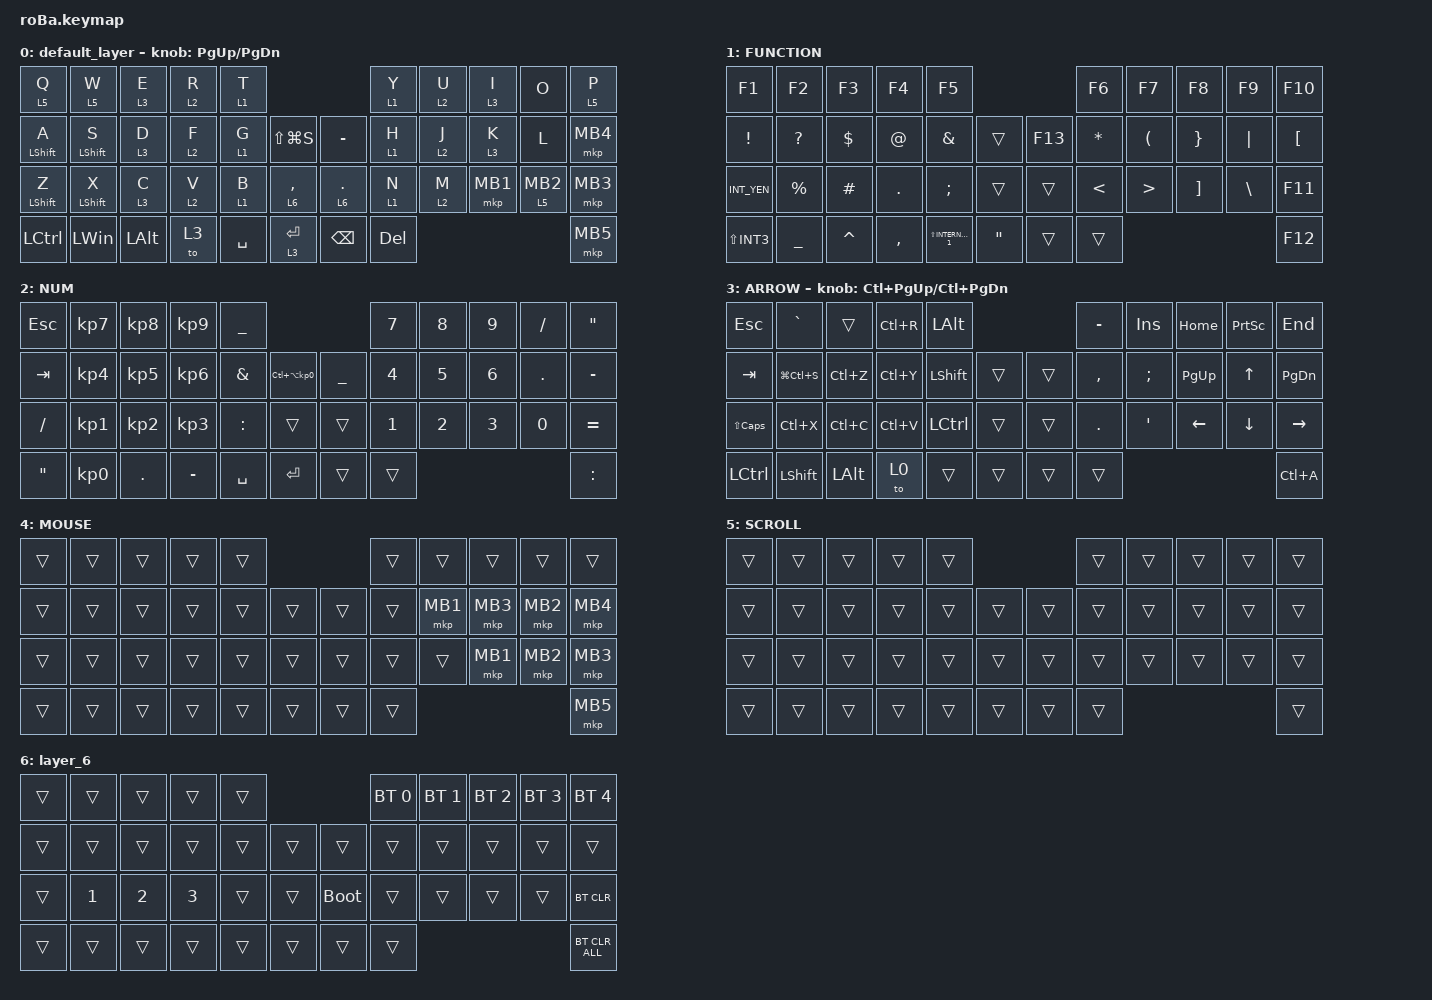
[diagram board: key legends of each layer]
#include <behaviors.dtsi>
#include <dt-bindings/zmk/bt.h>
#include <dt-bindings/zmk/keys.h>
#include <dt-bindings/zmk/pointing.h>

&mt {
    flavor = "balanced";
    quick-tap-ms = <0>;
};

&trackball {
    scroll-layers = <2 3 5>;

    //    automouse-layer = <4>;
    //    scroll-layers = <5>;
    // arrows {
    //     layers = <3>;
    //     bindings =
    //         <&kp RIGHT_ARROW>,
    //         <&kp LEFT_ARROW>,
    //         <&kp UP_ARROW>,
    //         <&kp DOWN_ARROW>;
    //     tick = <10>;
    //     wait-ms = <5>;
    //     tap-ms = <5>;
    // };
};

/ {
    combos {
        compatible = "zmk,combos";

        tab {
            bindings = <&kp TAB>;
            key-positions = <11 12>;
        };

        shift_tab {
            bindings = <&kp LS(TAB)>;
            key-positions = <12 13>;
        };
    };

    macros {
        to_layer_0: to_layer_0 {
            compatible = "zmk,behavior-macro-one-param";
            #binding-cells = <1>;
            bindings = <&to 0 &macro_param_1to1 &kp MACRO_PLACEHOLDER>;
            label = "TO_LAYER_0";
        };
    };

    behaviors {
        lt_to_layer_0: lt_to_layer_0 {
            compatible = "zmk,behavior-hold-tap";
            label = "LAYER_TAP_TO_0";
            bindings = <&mo>, <&to_layer_0>;

            #binding-cells = <2>;
            tapping-term-ms = <200>;
        };

        Layer_Mkp: Layer_Mkp {
            compatible = "zmk,behavior-hold-tap";
            label = "LAYER_MKP";
            bindings = <&mo>, <&mkp>;

            #binding-cells = <2>;
            tapping-term-ms = <200>;
        };
    };

    keymap {
        compatible = "zmk,keymap";

        default_layer {
            bindings = <
&lt 5 Q           &lt 5 W           &lt 3 E       &lt 2 R  &lt 1 T                                      &lt 1 Y     &lt 2 U  &lt 3 I   &kp O             &lt 5 P
&mt LEFT_SHIFT A  &mt LEFT_SHIFT S  &lt 3 D       &lt 2 F  &lt 1 G    &kp LS(LG(S))      &kp MINUS      &lt 1 H     &lt 2 J  &lt 3 K   &kp L             &mkp MB4
&mt LEFT_SHIFT Z  &mt LEFT_SHIFT X  &lt 3 C       &lt 2 V  &lt 1 B    &lt 6 COMMA        &lt 6 PERIOD   &lt 1 N     &lt 2 M  &mkp MB1  &Layer_Mkp 5 MB2  &mkp MB3
&kp LCTRL         &kp LEFT_WIN      &kp LEFT_ALT  &to 3    &kp SPACE  &lt 3 ENTER        &kp BACKSPACE  &kp DELETE                                       &mkp MB5
            >;

            sensor-bindings = <&inc_dec_kp PG_UP PAGE_DOWN>;
        };

        FUNCTION {
            bindings = <
&kp F1           &kp F2          &kp F3     &kp F4       &kp F5                                                   &kp F6         &kp F7                &kp F8             &kp F9         &kp F10
&kp EXCLAMATION  &kp QUESTION    &kp DLLR   &kp AT_SIGN  &kp AMPERSAND            &trans                 &kp F13  &kp ASTRK      &kp LEFT_PARENTHESIS  &kp RIGHT_BRACE    &kp PIPE       &kp LEFT_BRACKET
&kp INT_YEN      &kp PERCENT     &kp HASH   &kp PERIOD   &kp SEMICOLON            &trans                 &trans   &kp LESS_THAN  &kp GREATER_THAN      &kp RIGHT_BRACKET  &kp BACKSLASH  &kp F11
&kp LS(INT3)     &kp UNDERSCORE  &kp CARET  &kp COMMA    &kp LS(INTERNATIONAL_1)  &kp DOUBLE_QUOTES      &trans   &trans                                                                 &kp F12
            >;
        };

        NUM {
            bindings = <
&kp ESC            &kp KP_NUMBER_7  &kp KP_NUMBER_8  &kp KP_NUMBER_9  &kp UNDER                                                   &kp NUMBER_7  &kp NUMBER_8  &kp NUMBER_9  &kp SLASH     &kp DOUBLE_QUOTES
&kp TAB            &kp KP_NUMBER_4  &kp KP_NUMBER_5  &kp KP_NUMBER_6  &kp AMPERSAND  &kp LC(LA(KP_NUMBER_0))      &kp UNDERSCORE  &kp NUMBER_4  &kp NUMBER_5  &kp NUMBER_6  &kp PERIOD    &kp MINUS
&kp SLASH          &kp KP_NUMBER_1  &kp KP_NUMBER_2  &kp KP_NUMBER_3  &kp COLON      &trans                       &trans          &kp NUMBER_1  &kp NUMBER_2  &kp NUMBER_3  &kp NUMBER_0  &kp EQUAL
&kp DOUBLE_QUOTES  &kp KP_NUMBER_0  &kp DOT          &kp MINUS        &kp SPACE      &kp ENTER                    &trans          &trans                                                  &kp COLON
            >;
        };

        ARROW {
            bindings = <
&kp ESCAPE        &kp GRAVE       &trans        &kp LC(R)  &kp LEFT_ALT                          &kp MINUS   &kp INS           &kp HOME        &kp PRINTSCREEN  &kp END
&kp TAB           &kp LG(LC(S))   &kp LC(Z)     &kp LC(Y)  &kp LEFT_SHIFT    &trans      &trans  &kp COMMA   &kp SEMI          &kp PAGE_UP     &kp UP_ARROW     &kp PAGE_DOWN
&kp LS(CAPSLOCK)  &kp LC(X)       &kp LC(C)     &kp LC(V)  &kp LEFT_CONTROL  &trans      &trans  &kp PERIOD  &kp SINGLE_QUOTE  &kp LEFT_ARROW  &kp DOWN_ARROW   &kp RIGHT_ARROW
&kp LEFT_CONTROL  &kp LEFT_SHIFT  &kp LEFT_ALT  &to 0      &trans            &trans      &trans  &trans                                                         &kp LC(A)
            >;

            sensor-bindings = <&inc_dec_kp LC(PAGE_UP) LC(PAGE_DOWN)>;
        };

        MOUSE {
            bindings = <
&trans  &trans  &trans  &trans  &trans                      &trans  &trans    &trans    &trans    &trans
&trans  &trans  &trans  &trans  &trans  &trans      &trans  &trans  &mkp MB1  &mkp MB3  &mkp MB2  &mkp MB4
&trans  &trans  &trans  &trans  &trans  &trans      &trans  &trans  &trans    &mkp MB1  &mkp MB2  &mkp MB3
&trans  &trans  &trans  &trans  &trans  &trans      &trans  &trans                                &mkp MB5
            >;
        };

        SCROLL {
            bindings = <
&trans  &trans  &trans  &trans  &trans                      &trans  &trans  &trans  &trans  &trans
&trans  &trans  &trans  &trans  &trans  &trans      &trans  &trans  &trans  &trans  &trans  &trans
&trans  &trans  &trans  &trans  &trans  &trans      &trans  &trans  &trans  &trans  &trans  &trans
&trans  &trans  &trans  &trans  &trans  &trans      &trans  &trans                          &trans
            >;
        };

        layer_6 {
            bindings = <
&trans  &trans        &trans        &trans        &trans                           &bt BT_SEL 0  &bt BT_SEL 1  &bt BT_SEL 2  &bt BT_SEL 3  &bt BT_SEL 4
&trans  &trans        &trans        &trans        &trans  &trans      &trans       &trans        &trans        &trans        &trans        &trans
&trans  &kp NUMBER_1  &kp NUMBER_2  &kp NUMBER_3  &trans  &trans      &bootloader  &trans        &trans        &trans        &trans        &bt BT_CLR
&trans  &trans        &trans        &trans        &trans  &trans      &trans       &trans                                                  &bt BT_CLR_ALL
            >;
        };
    };
};
